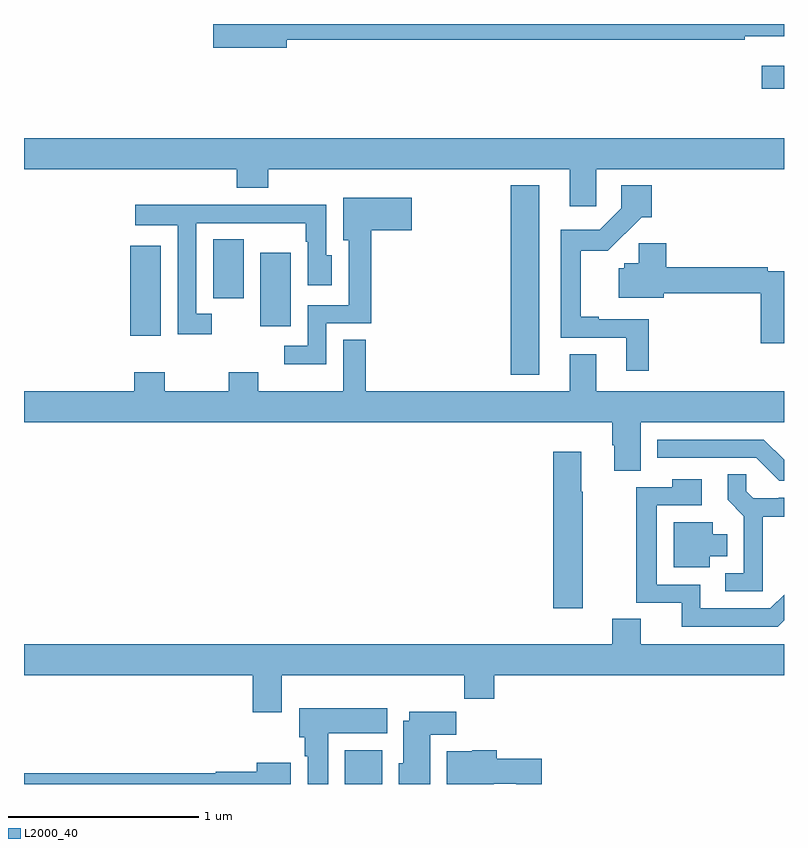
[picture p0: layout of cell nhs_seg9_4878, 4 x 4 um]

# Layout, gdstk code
import gdstk
lib = gdstk.Library(unit=1e-6, precision=1e-09)
def R(c, l, rs):  # rectangles x0, y0, x1, y1
    for r in rs: c.add(gdstk.rectangle(r[:2], r[2:], *l))
def P(c, l, *ps):  # polygons
    for p in ps: c.add(gdstk.Polygon(p, *l))
L2000_40 = (2000, 40)

nhs_seg9_4878 = lib.new_cell('nhs_seg9_4878')
R(nhs_seg9_4878, L2000_40, [(394.688,1210.5,394.885,1210.678), (395.561,1212.653,395.713,1213.651), (393.56,1212.858,393.721,1213.333), (394.244,1212.908,394.405,1213.297), (393.995,1213.056,394.156,1213.367), (396.882,1214.159,397,1214.281)])
P(nhs_seg9_4878, L2000_40, [(394.384,1214.416),(396.794,1214.416),(396.794,1214.436),(397,1214.436),(397,1214.5),(393.996,1214.5),(393.996,1214.374),(394.384,1214.374)],
  [(396.012,1213.736),(397,1213.736),(397,1213.9),(393,1213.9),(393,1213.736),(394.121,1213.736),(394.121,1213.637),(394.286,1213.637),(394.286,1213.736),(395.873,1213.736),(395.873,1213.542),(396.012,1213.542)],
  [(396.287,1212.945),(396.025,1212.945),(396.025,1212.958),(395.929,1212.958),(395.929,1213.307),(396.073,1213.307),(396.251,1213.484),(396.305,1213.484),(396.305,1213.651),(396.144,1213.651),(396.144,1213.53),(396.03,1213.416),(395.825,1213.416),(395.825,1212.849),(396.17,1212.849),(396.17,1212.675),(396.287,1212.675)],
  [(394.59,1212.924),(394.828,1212.924),(394.828,1213.415),(395.041,1213.415),(395.041,1213.585),(394.679,1213.585),(394.679,1213.361),(394.709,1213.361),(394.709,1213.02),(394.494,1213.02),(394.494,1212.807),(394.371,1212.807),(394.371,1212.71),(394.59,1212.71)],
  [(393.988,1212.975),(393.906,1212.975),(393.906,1213.452),(394.252,1213.452),(394.252,1213.451),(394.482,1213.451),(394.482,1213.355),(394.494,1213.355),(394.494,1213.125),(394.621,1213.125),(394.621,1213.284),(394.59,1213.284),(394.59,1213.55),(394.369,1213.55),(394.369,1213.548),(394.003,1213.548),(394.003,1213.55),(393.585,1213.55),(393.585,1213.442),(393.81,1213.442),(393.81,1212.867),(393.988,1212.867)],
  [(397,1213.2),(396.914,1213.2),(396.914,1213.22),(396.38,1213.22),(396.38,1213.347),(396.235,1213.347),(396.235,1213.242),(396.159,1213.242),(396.159,1213.215),(396.131,1213.215),(396.131,1213.058),(396.367,1213.058),(396.367,1213.084),(396.878,1213.084),(396.878,1212.819),(397,1212.819)],
  [(396.247,1212.404),(397,1212.404),(397,1212.568),(396.013,1212.568),(396.013,1212.763),(395.873,1212.763),(395.873,1212.568),(394.798,1212.568),(394.798,1212.839),(394.679,1212.839),(394.679,1212.568),(394.233,1212.568),(394.233,1212.667),(394.078,1212.667),(394.078,1212.568),(393.741,1212.568),(393.741,1212.667),(393.581,1212.667),(393.581,1212.568),(393,1212.568),(393,1212.404),(396.095,1212.404),(396.095,1212.282),(396.107,1212.282),(396.107,1212.148),(396.247,1212.148)],
  [(397,1212.206),(396.894,1212.312),(396.332,1212.312),(396.332,1212.216),(396.855,1212.216),(396.975,1212.096),(397,1212.096)],
  [(395.94,1212.037),(395.932,1212.037),(395.932,1212.25),(395.786,1212.25),(395.786,1211.424),(395.94,1211.424)],
  [(396.887,1211.906),(397,1211.906),(397,1212.006),(396.972,1212.006),(396.972,1212.003),(396.838,1212.003),(396.801,1212.04),(396.801,1212.131),(396.703,1212.131),(396.703,1211.995),(396.789,1211.909),(396.789,1211.61),(396.69,1211.61),(396.69,1211.514),(396.887,1211.514)],
  [(397,1211.362),(397,1211.497),(396.927,1211.424),(396.559,1211.424),(396.559,1211.55),(396.33,1211.55),(396.33,1211.967),(396.568,1211.967),(396.568,1212.103),(396.412,1212.103),(396.412,1212.063),(396.222,1212.063),(396.222,1211.454),(396.461,1211.454),(396.461,1211.328),(396.966,1211.328)],
  [(396.61,1211.699),(396.7,1211.699),(396.7,1211.815),(396.625,1211.815),(396.625,1211.878),(396.419,1211.878),(396.419,1211.642),(396.61,1211.642)],
  [(394.357,1211.072),(395.317,1211.072),(395.317,1210.948),(395.474,1210.948),(395.474,1211.072),(397,1211.072),(397,1211.236),(396.247,1211.236),(396.247,1211.369),(396.095,1211.369),(396.095,1211.236),(393,1211.236),(393,1211.072),(394.205,1211.072),(394.205,1210.878),(394.357,1210.878)],
  [(394.6,1210.766),(394.912,1210.766),(394.912,1210.9),(394.448,1210.9),(394.448,1210.746),(394.478,1210.746),(394.478,1210.646),(394.493,1210.646),(394.493,1210.5),(394.6,1210.5)],
  [(395.137,1210.76),(395.276,1210.76),(395.276,1210.879),(395.027,1210.879),(395.027,1210.834),(394.997,1210.834),(394.997,1210.608),(394.973,1210.608),(394.973,1210.5),(395.137,1210.5)],
  [(395.472,1210.502),(395.592,1210.502),(395.592,1210.5),(395.725,1210.5),(395.725,1210.632),(395.489,1210.632),(395.489,1210.678),(395.358,1210.678),(395.358,1210.672),(395.225,1210.672),(395.225,1210.5),(395.472,1210.5)],
  [(394.405,1210.612),(394.226,1210.612),(394.226,1210.564),(394.008,1210.564),(394.008,1210.556),(393,1210.556),(393,1210.5),(394.405,1210.5)])

lib.write_gds('nhs_seg9_4878.gds')
